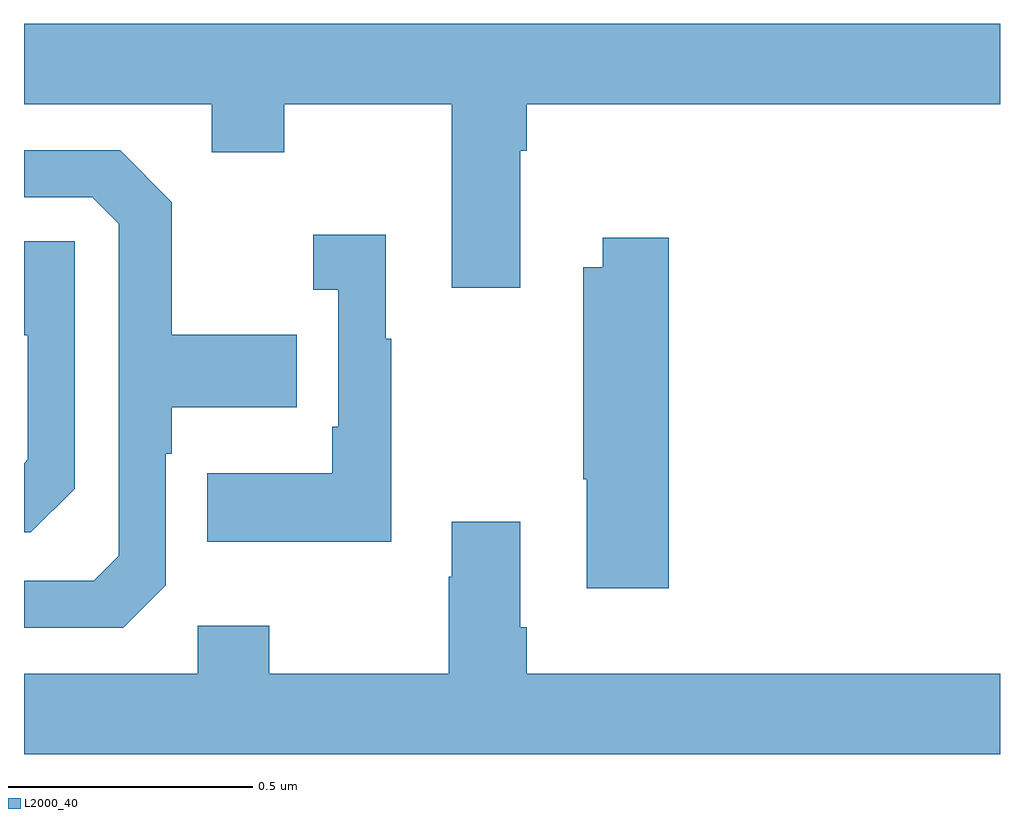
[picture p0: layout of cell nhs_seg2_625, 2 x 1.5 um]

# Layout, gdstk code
import gdstk
lib = gdstk.Library(unit=1e-6, precision=1e-09)
def P(c, l, *ps):  # polygons
    for p in ps: c.add(gdstk.Polygon(p, *l))
L2000_40 = (2000, 40)

nhs_seg2_625 = lib.new_cell('nhs_seg2_625')
P(nhs_seg2_625, L2000_40, [(119.017,647.54),(119.03,647.54),(119.03,647.636),(120,647.636),(120,647.8),(118,647.8),(118,647.636),(118.385,647.636),(118.385,647.537),(118.533,647.537),(118.533,647.636),(118.877,647.636),(118.877,647.259),(119.017,647.259)],
  [(118.29,646.65),(118.29,646.919),(118.303,646.919),(118.303,647.015),(118.559,647.015),(118.559,647.163),(118.303,647.163),(118.303,647.435),(118.197,647.541),(118,647.541),(118,647.445),(118.14,647.445),(118.194,647.391),(118.194,646.71),(118.143,646.659),(118,646.659),(118,646.563),(118.203,646.563)],
  [(118.753,647.155),(118.741,647.155),(118.741,647.368),(118.593,647.368),(118.593,647.255),(118.644,647.255),(118.644,646.975),(118.632,646.975),(118.632,646.879),(118.375,646.879),(118.375,646.739),(118.753,646.739)],
  [(119.321,647.362),(119.186,647.362),(119.186,647.302),(119.146,647.302),(119.146,646.867),(119.153,646.867),(119.153,646.644),(119.321,646.644)],
  [(118.104,646.848),(118.104,647.355),(118,647.355),(118,647.162),(118.008,647.162),(118.008,646.908),(118,646.9),(118,646.758),(118.014,646.758)],
  [(120,646.468),(119.03,646.468),(119.03,646.564),(119.017,646.564),(119.017,646.78),(118.877,646.78),(118.877,646.667),(118.87,646.667),(118.87,646.468),(118.503,646.468),(118.503,646.567),(118.356,646.567),(118.356,646.468),(118,646.468),(118,646.304),(120,646.304)])

lib.write_gds('nhs_seg2_625.gds')
